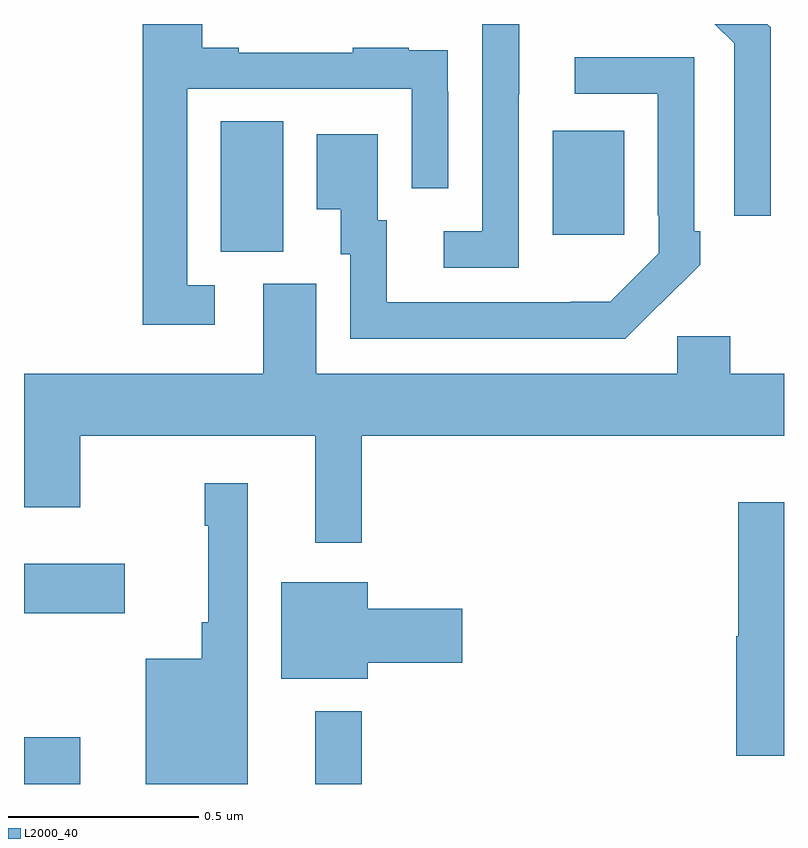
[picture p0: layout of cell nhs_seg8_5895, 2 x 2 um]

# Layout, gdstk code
import gdstk
lib = gdstk.Library(unit=1e-6, precision=1e-09)
def R(c, l, rs):  # rectangles x0, y0, x1, y1
    for r in rs: c.add(gdstk.rectangle(r[:2], r[2:], *l))
def P(c, l, *ps):  # polygons
    for p in ps: c.add(gdstk.Polygon(p, *l))
L2000_40 = (2000, 40)

nhs_seg8_5895 = lib.new_cell('nhs_seg8_5895')
R(nhs_seg8_5895, L2000_40, [(189,1132.9,189.148,1133.023), (189.767,1132.9,189.889,1133.092), (189,1133.35,189.265,1133.479), (189.518,1134.301,189.682,1134.644), (190.391,1134.345,190.579,1134.619)])
P(nhs_seg8_5895, L2000_40, [(190.302,1134.715),(190.303,1134.715),(190.303,1134.9),(190.206,1134.9),(190.206,1134.354),(190.104,1134.354),(190.104,1134.258),(190.302,1134.258)],
  [(190.965,1134.891),(190.956,1134.9),(190.818,1134.9),(190.869,1134.849),(190.869,1134.396),(190.965,1134.396)],
  [(189.502,1134.213),(189.429,1134.213),(189.429,1134.729),(190.02,1134.729),(190.02,1134.468),(190.116,1134.468),(190.116,1134.722),(190.115,1134.722),(190.115,1134.831),(190.013,1134.831),(190.013,1134.838),(189.865,1134.838),(189.865,1134.825),(189.565,1134.825),(189.565,1134.838),(189.469,1134.838),(189.469,1134.9),(189.313,1134.9),(189.313,1134.108),(189.502,1134.108)],
  [(190.673,1134.163),(190.674,1134.162),(190.779,1134.267),(190.779,1134.355),(190.764,1134.355),(190.764,1134.813),(190.449,1134.813),(190.449,1134.717),(190.668,1134.717),(190.668,1134.397),(190.671,1134.397),(190.671,1134.297),(190.543,1134.169),(190.439,1134.169),(190.439,1134.168),(189.955,1134.168),(189.955,1134.384),(189.931,1134.384),(189.931,1134.61),(189.77,1134.61),(189.77,1134.413),(189.833,1134.413),(189.833,1134.294),(189.858,1134.294),(189.858,1134.072),(190.582,1134.072)],
  [(189.889,1133.816),(191,1133.816),(191,1133.98),(190.858,1133.98),(190.858,1134.078),(190.719,1134.078),(190.719,1133.98),(189.769,1133.98),(189.769,1134.216),(189.629,1134.216),(189.629,1133.98),(189,1133.98),(189,1133.628),(189.148,1133.628),(189.148,1133.816),(189.767,1133.816),(189.767,1133.535),(189.889,1133.535)],
  [(189.589,1133.692),(189.475,1133.692),(189.475,1133.579),(189.485,1133.579),(189.485,1133.326),(189.468,1133.326),(189.468,1133.23),(189.32,1133.23),(189.32,1132.9),(189.589,1132.9)],
  [(191,1133.641),(190.88,1133.641),(190.88,1133.289),(190.874,1133.289),(190.874,1132.974),(191,1132.974)],
  [(189.904,1133.219),(190.153,1133.219),(190.153,1133.361),(189.904,1133.361),(189.904,1133.431),(189.677,1133.431),(189.677,1133.177),(189.904,1133.177)])

lib.write_gds('nhs_seg8_5895.gds')
